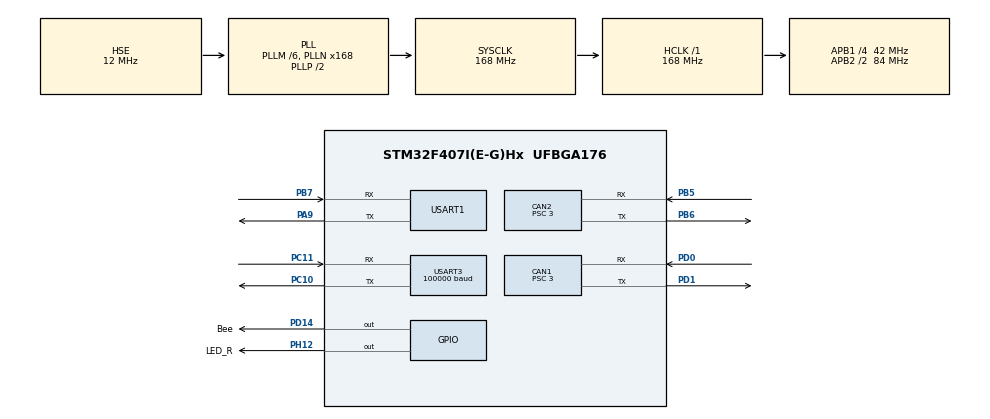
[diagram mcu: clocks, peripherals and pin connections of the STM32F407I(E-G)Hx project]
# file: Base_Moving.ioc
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CAN1.BS1=CAN_BS1_10TQ
CAN1.BS2=CAN_BS2_3TQ
CAN1.CalculateBaudRate=1000000
CAN1.CalculateTimeBit=1000
CAN1.CalculateTimeQuantum=71.42857142857143
CAN1.Prescaler=3
CAN2.BS1=CAN_BS1_10TQ
CAN2.BS2=CAN_BS2_3TQ
CAN2.CalculateBaudRate=1000000
CAN2.CalculateTimeBit=1000
CAN2.CalculateTimeQuantum=71.42857142857143
CAN2.Prescaler=3
Dma.Request0=USART3_RX
Dma.Request1=USART1_TX
Dma.Request2=USART1_RX
Dma.USART1_RX.2.Direction=DMA_PERIPH_TO_MEMORY
Dma.USART1_RX.2.FIFOMode=DMA_FIFOMODE_DISABLE
Dma.USART1_RX.2.Instance=DMA2_Stream2
Dma.USART1_RX.2.MemDataAlignment=DMA_MDATAALIGN_BYTE
Dma.USART1_RX.2.MemInc=DMA_MINC_ENABLE
Dma.USART1_RX.2.Mode=DMA_CIRCULAR
Dma.USART1_RX.2.PeriphDataAlignment=DMA_PDATAALIGN_BYTE
Dma.USART1_RX.2.PeriphInc=DMA_PINC_DISABLE
Dma.USART1_RX.2.Priority=DMA_PRIORITY_MEDIUM
Dma.USART1_TX.1.Direction=DMA_MEMORY_TO_PERIPH
Dma.USART1_TX.1.FIFOMode=DMA_FIFOMODE_DISABLE
Dma.USART1_TX.1.Instance=DMA2_Stream7
Dma.USART1_TX.1.MemDataAlignment=DMA_MDATAALIGN_BYTE
Dma.USART1_TX.1.MemInc=DMA_MINC_ENABLE
Dma.USART1_TX.1.Mode=DMA_NORMAL
Dma.USART1_TX.1.PeriphDataAlignment=DMA_PDATAALIGN_BYTE
Dma.USART1_TX.1.PeriphInc=DMA_PINC_DISABLE
Dma.USART1_TX.1.Priority=DMA_PRIORITY_HIGH
Dma.USART3_RX.0.Direction=DMA_PERIPH_TO_MEMORY
Dma.USART3_RX.0.FIFOMode=DMA_FIFOMODE_DISABLE
Dma.USART3_RX.0.Instance=DMA1_Stream1
Dma.USART3_RX.0.MemDataAlignment=DMA_MDATAALIGN_BYTE
Dma.USART3_RX.0.MemInc=DMA_MINC_ENABLE
Dma.USART3_RX.0.Mode=DMA_NORMAL
Dma.USART3_RX.0.PeriphDataAlignment=DMA_PDATAALIGN_BYTE
Dma.USART3_RX.0.PeriphInc=DMA_PINC_DISABLE
Dma.USART3_RX.0.Priority=DMA_PRIORITY_VERY_HIGH
Mcu.Family=STM32F4
Mcu.Name=STM32F407I(E-G)Hx
Mcu.Package=UFBGA176
NVIC.CAN1_RX0_IRQn=true\:0\:0\:false\:false\:true\:true\:true
NVIC.CAN2_RX0_IRQn=true\:0\:0\:false\:false\:true\:true\:true
NVIC.DMA1_Stream1_IRQn=true\:0\:0\:false\:false\:true\:false\:true
NVIC.DMA2_Stream2_IRQn=true\:0\:0\:false\:false\:true\:false\:true
NVIC.DMA2_Stream7_IRQn=true\:0\:0\:false\:false\:true\:false\:true
NVIC.PriorityGroup=NVIC_PRIORITYGROUP_4
NVIC.USART1_IRQn=true\:0\:0\:false\:false\:false\:true\:true
NVIC.USART3_IRQn=true\:0\:0\:false\:false\:false\:true\:true
PA13.Mode=Serial_Wire
PA13.Signal=SYS_JTMS-SWDIO
PA14.Mode=Serial_Wire
PA14.Signal=SYS_JTCK-SWCLK
PA9.Mode=Asynchronous
PA9.Signal=USART1_TX
PB5.Mode=CAN_Activate
PB5.Signal=CAN2_RX
PB6.Mode=CAN_Activate
PB6.Signal=CAN2_TX
PB7.Mode=Asynchronous
PB7.Signal=USART1_RX
PC10.Mode=Asynchronous
PC10.Signal=USART3_TX
PC11.Mode=Asynchronous
PC11.Signal=USART3_RX
PD0.Mode=CAN_Activate
PD0.Signal=CAN1_RX
PD1.Mode=CAN_Activate
PD1.Signal=CAN1_TX
PD14.GPIO_Label=Bee
PD14.Signal=GPIO_Output
PH0-OSC_IN.Mode=HSE-External-Oscillator
PH0-OSC_IN.Signal=RCC_OSC_IN
PH1-OSC_OUT.Mode=HSE-External-Oscillator
PH1-OSC_OUT.Signal=RCC_OSC_OUT
PH12.GPIO_Label=LED_R
PH12.Signal=GPIO_Output
ProjectManager.HeapSize=0x200
ProjectManager.StackSize=0x400
ProjectManager.TargetToolchain=SW4STM32
RCC.48MHZClocksFreq_Value=84000000
RCC.AHBFreq_Value=168000000
RCC.APB1CLKDivider=RCC_HCLK_DIV4
RCC.APB1Freq_Value=42000000
RCC.APB1TimFreq_Value=84000000
RCC.APB2CLKDivider=RCC_HCLK_DIV2
RCC.APB2Freq_Value=84000000
RCC.APB2TimFreq_Value=168000000
RCC.CortexFreq_Value=168000000
RCC.HCLKFreq_Value=168000000
RCC.HSE_VALUE=12000000
RCC.HSI_VALUE=16000000
RCC.LSE_VALUE=32768
RCC.PLLM=6
RCC.PLLN=168
RCC.PLLSourceVirtual=RCC_PLLSOURCE_HSE
RCC.SYSCLKFreq_VALUE=168000000
RCC.SYSCLKSource=RCC_SYSCLKSOURCE_PLLCLK
RCC.VCOOutputFreq_Value=336000000
USART1.VirtualMode=VM_ASYNC
USART3.BaudRate=100000
USART3.VirtualMode=VM_ASYNC
board=custom

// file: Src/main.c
/* USER CODE BEGIN Header */
/**
  ******************************************************************************
  * @file           : main.c
  * @brief          : Main program body
  ******************************************************************************
  * @attention
  *
  * <h2><center>&copy; Copyright (c) 2022 STMicroelectronics.
  * All rights reserved.</center></h2>
  *
  * This software component is licensed by ST under BSD 3-Clause license,
  * the "License"; You may not use this file except in compliance with the
  * License. You may obtain a copy of the License at:
  *                        opensource.org/licenses/BSD-3-Clause
  *
  ******************************************************************************
  */
/* USER CODE END Header */
#include "main.h"
#include "can.h"
#include "dma.h"
#include "usart.h"
#include "gpio.h"

/* USER CODE BEGIN Includes */
#include "Remote_Controller.h"
#include "Move_Controlor.h"
#include "CAN_Operation.h"
#include "PID_Controlor.h"
#include "math.h"
#include "Usart_Printf.h"
#include "Location_Module_Recieve.h"
#include "Navi_Control.h"
/* USER CODE END Includes */

/* USER CODE BEGIN PV */
#pragma clang diagnostic push
#pragma ide diagnostic ignored "EndlessLoop"
/* USER CODE END PV */

void SystemClock_Config(void);

/* USER CODE BEGIN 0 */
int Start_Fixed = 0;
int Arm_Finished = 0;
float Now_Pos_X, Now_Pos_Y;

void CAN_Recieved_Data_Dealer()
{
	int state_A = (CAN_Recieved_Message[1]<<8 | CAN_Recieved_Message[2]);
	int state_B = (CAN_Recieved_Message[3]<<8 | CAN_Recieved_Message[4]);
	int state_C = (CAN_Recieved_Message[5]<<8 | CAN_Recieved_Message[6]);
	if (state_A == 1 && state_B == 1 && state_C == 1){
		Arm_Finished = 1;
	}
}

void Arm_Task_Send(float X,float Y,float Angle,int switch_s)
{
	int xx = (int)(X*1000.0f);
	int yy = (int)(Y*1000.0f);
	int aa = (int)Angle;
	CAN_Transmit_Message('M',xx,yy,aa,switch_s,0x302);
	HAL_Delay(10);
	Arm_Finished = 0;
}

void Rough_Deadbond()
{
	X_PID.deadbond = 0.2f;
	Y_PID.deadbond = 0.2f;
	Angle_PID.deadbond = 5.0f;
}

void Precise_Deadbond()
{
	X_PID.deadbond = 0.01f;
	Y_PID.deadbond = 0.01f;
	Angle_PID.deadbond = 2.0f;
}

void High_Speed()
{
	X_PID.max_output = 4000;
	Y_PID.max_output = 4000;
}

void Medium_Speed()
{
	X_PID.max_output = 2000;
	Y_PID.max_output = 2000;
}

void Point_Running_Task(float Set_X,float Set_Y,float Set_Angle)
{
	int Fit = 0;
	while ((fabs(Set_X-Location_Data.Pos_X) > X_PID.deadbond) || (fabs(Set_Y - Location_Data.Pos_Y) > Y_PID.deadbond) ||
				 (fabs(Set_Angle-Location_Data.Angle) > Angle_PID.deadbond))
	{
		if (Remote_Controller_Data.Remote_Controller.s[0] == 3){
			MecanumChassis_OmniDrive(0,0,0);
		}else if (Remote_Controller_Data.Remote_Controller.s[0] == 2){
			if (!Start_Fixed){
				Start_Fixed = 1;
				Now_Pos_X = Location_Data.Pos_X;
				Now_Pos_X = Location_Data.Pos_Y;
			}
			Remote_Moving_Control();
		}
		else{
			if (Start_Fixed){
				Fixed_Pos_X = Set_X - Now_Pos_X;
				Fixed_Pos_Y = Set_Y - Now_Pos_Y;
				Start_Fixed = 0;
			}
			Point_Navi_Move(Set_X,Set_Y,Set_Angle);
		}
	}
}

void Wait_Task(int time)
{
	while(!Arm_Finished){
		MecanumChassis_OmniDrive(0,0,0);
	}
	int Fit = 0;
	for (int i=1;i<=(time/10);i++){
		if (Remote_Controller_Data.Remote_Controller.s[0] == 2){
			Remote_Moving_Control();
			i--;
			Fit = 1;
		}else{
			if (Fit) break;
			MecanumChassis_OmniDrive(0,0,0);
			HAL_Delay(10);
		}
	}
	X_PID.kp_output = 0;
	X_PID.ki_output = 0;
	X_PID.kd_output = 0;
	X_PID.err_sum = 0;
	X_PID.output = 0;
	Y_PID.kp_output = 0;
	Y_PID.ki_output = 0;
	Y_PID.kd_output = 0;
	Y_PID.err_sum = 0;
	Y_PID.output = 0;
	Angle_PID.kp_output = 0;
	Angle_PID.ki_output = 0;
	Angle_PID.kd_output = 0;
	Angle_PID.err_sum = 0;
	Angle_PID.output = 0;
}

void main_task()
{
	while (start_locator < 1)
	{
		MecanumChassis_OmniDrive(0,0,0);
	}
	HAL_GPIO_WritePin(LED_R_GPIO_Port,LED_R_Pin,GPIO_PIN_SET);
	Rough_Deadbond();
	Point_Running_Task(0,3.3f,0);
	Medium_Speed();
	Point_Running_Task(-2.7f,3.3f,0);
	High_Speed();
	Precise_Deadbond();
	Arm_Task_Send(1.0f,1.0f,0,0);
	Point_Running_Task(-2.7f,1.41f,0);
	Wait_Task(1000);
	Rough_Deadbond();
	Point_Running_Task(-2.7f,3.3f,0);
	Precise_Deadbond();
	Arm_Task_Send(1.0f,1.0f,180.0f,0);
	Point_Running_Task(-0.57f,3.5f,92);
	Arm_Task_Send(1.0f,1.0f,0,1);
	Wait_Task(1000);
	Arm_Task_Send(1.0f,1.0f,0,0);
	Wait_Task(1000);

	Rough_Deadbond();
	Arm_Task_Send(1.0f,1.0f,0,0);
	Point_Running_Task(-3.0f,3.3f,0);
	Precise_Deadbond();
	Point_Running_Task(-3.0f,1.41f,0);
	Wait_Task(1000);
	Rough_Deadbond();
	Point_Running_Task(-3.0f,3.3f,0);
	Precise_Deadbond();
	Arm_Task_Send(1.0f,1.0f,0,0);
	Wait_Task(1000);
	Point_Running_Task(-0.57f,3.5f,92);
	Wait_Task(1000);
	Arm_Task_Send(1.0f,1.0f,0,1);
	Wait_Task(1000);

	Rough_Deadbond();
	Arm_Task_Send(1.0f,1.0f,0,0);
	Point_Running_Task(-3.3f,3.3f,0);
	Precise_Deadbond();
	Point_Running_Task(-3.3f,1.41f,0);
	Wait_Task(1000);
	Rough_Deadbond();
	Point_Running_Task(-3.3f,3.3f,0);
	Precise_Deadbond();
	Arm_Task_Send(1.0f,1.0f,0,0);
	Point_Running_Task(-0.57f,3.5f,92);
	Arm_Task_Send(1.0f,1.0f,0,1);
	Wait_Task(1000);

	Rough_Deadbond();
	Arm_Task_Send(1.0f,1.0f,0,0);
	Point_Running_Task(-3.6f,3.3f,0);
	Precise_Deadbond();
	Point_Running_Task(-3.6f,1.41f,0);
	Wait_Task(1000);
	Rough_Deadbond();
	Arm_Task_Send(1.0f,1.0f,0,0);
	Point_Running_Task(-3.6f,3.3f,0);
	Precise_Deadbond();
	Point_Running_Task(-0.57f,3.5f,92);
	Wait_Task(1000);
	Arm_Task_Send(1.0f,1.0f,0,1);
	Wait_Task(1000);

	Arm_Task_Send(1.0f,1.0f,0,0);
	Point_Running_Task(-5.3f,3.3f,-90);
	Wait_Task(1000);
	Arm_Task_Send(1.0f,1.0f,0,0);
	Point_Running_Task(-0.57f,3.5f,92);
	Wait_Task(1000);
	Arm_Task_Send(1.0f,1.0f,0,1);
	Wait_Task(1000);
	Rough_Deadbond();
	Point_Running_Task(0,3.3f,0);
	Precise_Deadbond();
	Point_Running_Task(0,0,0);
	Wait_Task(1000);
}
/* USER CODE END 0 */

int main(void)
{

  /* MCU Configuration--------------------------------------------------------*/

  /* Reset of all peripherals, Initializes the Flash interface and the Systick. */
  HAL_Init();

  /* Configure the system clock */
  SystemClock_Config();

  /* Initialize all configured peripherals */
  MX_GPIO_Init();
  MX_DMA_Init();
  MX_CAN1_Init();
  MX_CAN2_Init();
  MX_USART3_UART_Init();
  MX_USART1_UART_Init();
  /* USER CODE BEGIN 2 */
  Base_Control_Init();
  Remote_Controller_Init();
	Locator_Rx_Init();
	CAN2_Filter_Init();
	Navi_Control_Init();
	Usart1_TX_DMA_Init();
	float Dead_Bond = 0.0001f;
	float Angle = Location_Data.Angle;
	start_locator = 0;
  /* USER CODE END 2 */

  /* Infinite loop */
  /* USER CODE BEGIN WHILE */
//	float x = Location_Data.Pos_X;
//	float y = Location_Data.Pos_Y;
//	while ((Set_Y-y) > Dead_Bond)
//	{
//		y = Location_Data.Pos_Y;
//		if (start_Remote && start_locator){
//			MecanumChassis_OmniDrive(0,200,0);
//		}else{
//			MecanumChassis_OmniDrive(0,0,0);
//		}
//		if (Remote_Controller_Data.Remote_Controller.s[0] == 1) start_Remote = 1;
//		else start_Remote = 0;
//	}
	HAL_GPIO_WritePin(LED_R_GPIO_Port,LED_R_Pin,GPIO_PIN_RESET);
	//HAL_GPIO_WritePin(Bee_GPIO_Port,Bee_Pin,GPIO_PIN_RESET);
//	while ((Set_Angle-Angle) > 1.0f)
//	{
//		Angle = Location_Data.Angle;
//		if (start_Remote && start_locator){
//			MecanumChassis_OmniDrive(0,0,5);
//		}else{
//			MecanumChassis_OmniDrive(0,0,0);
//		}
//		if (Remote_Controller_Data.Remote_Controller.s[0] == 1) start_Remote = 1;
//		else start_Remote = 0;
////	}
	//main_task();
  while (1) {
    /* USER CODE END WHILE */

    /* USER CODE BEGIN 3 */
//		if (start_locator > 1) HAL_GPIO_WritePin(LED_R_GPIO_Port,LED_R_Pin,GPIO_PIN_SET);
//		else HAL_GPIO_WritePin(LED_R_GPIO_Port,LED_R_Pin,GPIO_PIN_RESET);
		//Remote_Moving_Control();
		//if (Remote_Controller_Data.Remote_Controller.ch[4] != 0) Usart_Printf("ACT0");
		if (Remote_Controller_Data.Remote_Controller.s[0] == 1){
			//Gyro_Mode_Drive(0,1000,60);
			//MecanumChassis_OmniDrive(0,0,0);
//			if (Remote_Controller_Data.Remote_Controller.s[1] == 2){
//				Point_Navi_Move(0,0,180);
//			}else if (Remote_Controller_Data.Remote_Controller.s[1] == 3){
//				Point_Navi_Move(0,0,0);
//			}else if (Remote_Controller_Data.Remote_Controller.s[1] == 1){
//				Point_Navi_Move(0,2.0f,0);
//			}
			//Point_Navi_Move(0,0,180);
		}else if (Remote_Controller_Data.Remote_Controller.s[0] == 3){
			MecanumChassis_OmniDrive(0,0,0);
			if (Remote_Controller_Data.Remote_Controller.s[1] == 3){
				HAL_Delay(10);
				if (Remote_Controller_Data.Remote_Controller.s[1] == 2){
					Usart_Printf("ACT0");
					HAL_Delay(10);
				}
			}
		}
		else if (Remote_Controller_Data.Remote_Controller.s[0] == 2) Remote_Moving_Control();

//		Arm_Task_Send(0,0,180.0f,0);
//		HAL_Delay(10);
//		Arm_Finished = 0;
//		while(!Arm_Finished) HAL_Delay(10);
//		HAL_Delay(10000);
	}
  /* USER CODE END 3 */
}

void SystemClock_Config(void)
{
  RCC_OscInitTypeDef RCC_OscInitStruct = {0};
  RCC_ClkInitTypeDef RCC_ClkInitStruct = {0};

  /** Configure the main internal regulator output voltage
  */
  __HAL_RCC_PWR_CLK_ENABLE();
  __HAL_PWR_VOLTAGESCALING_CONFIG(PWR_REGULATOR_VOLTAGE_SCALE1);
  /** Initializes the RCC Oscillators according to the specified parameters
  * in the RCC_OscInitTypeDef structure.
  */
  RCC_OscInitStruct.OscillatorType = RCC_OSCILLATORTYPE_HSE;
  RCC_OscInitStruct.HSEState = RCC_HSE_ON;
  RCC_OscInitStruct.PLL.PLLState = RCC_PLL_ON;
  RCC_OscInitStruct.PLL.PLLSource = RCC_PLLSOURCE_HSE;
  RCC_OscInitStruct.PLL.PLLM = 6;
  RCC_OscInitStruct.PLL.PLLN = 168;
  RCC_OscInitStruct.PLL.PLLP = RCC_PLLP_DIV2;
  RCC_OscInitStruct.PLL.PLLQ = 4;
  if (HAL_RCC_OscConfig(&RCC_OscInitStruct) != HAL_OK)
  {
    Error_Handler();
  }
  /** Initializes the CPU, AHB and APB buses clocks
  */
  RCC_ClkInitStruct.ClockType = RCC_CLOCKTYPE_HCLK|RCC_CLOCKTYPE_SYSCLK
                              |RCC_CLOCKTYPE_PCLK1|RCC_CLOCKTYPE_PCLK2;
  RCC_ClkInitStruct.SYSCLKSource = RCC_SYSCLKSOURCE_PLLCLK;
  RCC_ClkInitStruct.AHBCLKDivider = RCC_SYSCLK_DIV1;
  RCC_ClkInitStruct.APB1CLKDivider = RCC_HCLK_DIV4;
  RCC_ClkInitStruct.APB2CLKDivider = RCC_HCLK_DIV2;

  if (HAL_RCC_ClockConfig(&RCC_ClkInitStruct, FLASH_LATENCY_5) != HAL_OK)
  {
    Error_Handler();
  }
}

void Error_Handler(void)
{
  __disable_irq();
  while (1)
  {
  }
}
